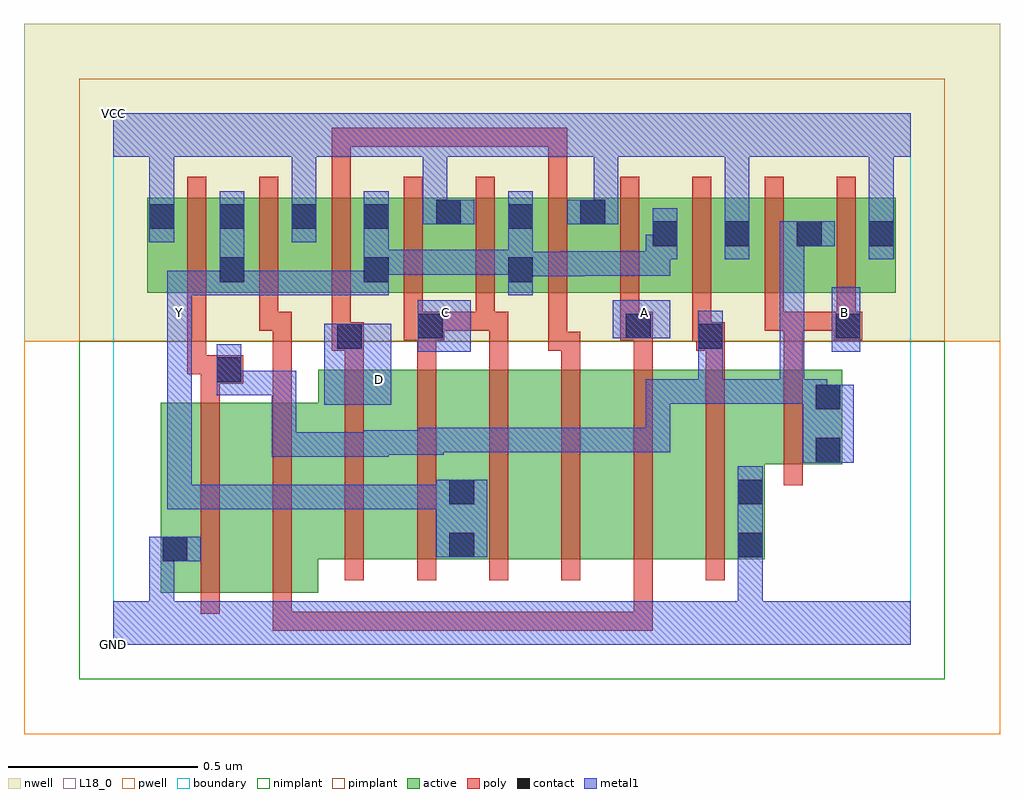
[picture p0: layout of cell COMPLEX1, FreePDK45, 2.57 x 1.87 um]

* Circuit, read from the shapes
.subckt COMPLEX1 A B C D GND VCC Y
M1 n1 n2 GND VSUBS nfet w=0.5u l=0.05u
M2 n3 A n1 VSUBS nfet w=0.5u l=0.05u
M3 n4 D n3 VSUBS nfet w=0.5u l=0.05u
M4 Y C n4 VSUBS nfet w=0.5u l=0.05u
M5 n5 C Y VSUBS nfet w=0.5u l=0.05u
M6 n6 D n5 VSUBS nfet w=0.5u l=0.05u
M7 n7 A n6 VSUBS nfet w=0.5u l=0.05u
M8 GND n2 n7 VSUBS nfet w=0.5u l=0.05u
M9 n2 B GND VSUBS nfet w=0.25u l=0.05u
M10 Y n2 VCC n8 pfet w=0.25u l=0.05u m=2
M11 VCC A Y n8 pfet w=0.25u l=0.05u m=2
M12 Y D VCC n8 pfet w=0.25u l=0.05u m=2
M13 VCC C Y n8 pfet w=0.25u l=0.05u m=2
M14 n2 B VCC n8 pfet w=0.25u l=0.05u m=2
.ends

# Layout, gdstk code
import gdstk
lib = gdstk.Library(unit=1e-6, precision=1e-09)
def R(c, l, rs):  # rectangles x0, y0, x1, y1
    for r in rs: c.add(gdstk.rectangle(r[:2], r[2:], *l))
def A(c, l, x, y, w, h, nx, ny, dx, dy):  # array of equal rectangles
    R(c, l, [(x+i*dx, y+j*dy, x+i*dx+w, y+j*dy+h) for i in range(nx) for j in range(ny)])
active = (1, 0)
pwell = (2, 0)
nwell = (3, 0)
nimplant = (4, 0)
pimplant = (5, 0)
poly = (9, 0)
contact = (10, 0)
metal1 = (11, 0)
L18_0 = (18, 0)
boundary = (235, 0)

complex1 = lib.new_cell('COMPLEX1')
A(complex1, active, 0.275, 0.927, 0.075, 0.25, 4, 1, 0.38, 0)
A(complex1, active, 0.275, 0.927, 0.265, 0.25, 9, 1, 0.19, 0)
A(complex1, active, 1.605, 0.927, 0.075, 0.25, 3, 1, 0.19, 0)
R(complex1, active, [(0.125,0.137,0.35,0.637), (0.35,0.137,0.54,0.637), (0.125,0.142,0.2,0.637), (0.54,0.225,0.73,0.725), (0.73,0.225,0.955,0.725), (0.88,0.225,1.11,0.725), (0.88,0.225,0.955,0.652), (1.11,0.225,1.3,0.725), (1.3,0.225,1.49,0.725), (1.49,0.225,1.715,0.725), (1.64,0.225,1.715,0.725), (1.64,0.475,1.92,0.725), (1.845,0.475,1.92,0.725), (0.09,0.927,0.165,1.177), (0.09,0.927,0.35,1.177), (0.845,0.932,0.92,1.177), (0.465,1.027,0.54,1.177), (1.225,1.027,1.3,1.177)])
R(complex1, pwell, [(-0.235,-0.235,2.335,0.8)])
R(complex1, nwell, [(-0.235,0.8,2.335,1.635)])
R(complex1, nimplant, [(-0.09,-0.09,2.19,0.8)])
R(complex1, pimplant, [(-0.09,0.8,2.19,1.49)])
A(complex1, poly, 0.61, 0.17, 0.05, 0.61, 6, 1, 0.19, 0)
A(complex1, poly, 0.955, 0.827, 0.05, 0.095, 3, 1, 0.38, 0)
A(complex1, poly, 0.195, 0.872, 0.05, 0.36, 10, 1, 0.19, 0)
R(complex1, poly, [(0.42,0.037,0.47,0.132), (0.42,0.037,0.475,0.087), (0.425,0.037,0.475,0.087), (0.425,0.037,0.475,0.087), (0.425,0.037,0.625,0.087), (0.575,0.037,0.625,0.087), (0.575,0.037,0.757,0.087), (0.707,0.037,0.757,0.087), (0.707,0.037,0.757,0.087), (0.707,0.037,0.757,0.087), (0.707,0.037,1.062,0.087), (1.012,0.037,1.062,0.087), (1.012,0.037,1.062,0.087), (1.012,0.037,1.062,0.087), (1.012,0.037,1.25,0.087), (1.2,0.037,1.25,0.087), (1.2,0.037,1.25,0.087), (1.2,0.037,1.25,0.087), (1.2,0.037,1.42,0.087), (1.37,0.037,1.42,0.087), (1.37,0.037,1.42,0.087), (1.37,0.037,1.42,0.087), (1.37,0.037,1.42,0.22), (0.23,0.082,0.28,0.692), (0.42,0.082,0.47,0.692), (1.765,0.42,1.815,0.78), (0.23,0.642,0.28,0.737), (0.42,0.642,0.47,0.877), (0.23,0.687,0.342,0.762), (0.195,0.712,0.28,0.762), (0.195,0.712,0.245,0.922), (0.23,0.712,0.28,0.762), (0.61,0.73,0.66,0.825), (0.8,0.73,0.85,0.852), (0.99,0.73,1.04,0.877), (1.18,0.73,1.23,0.825), (1.37,0.73,1.42,0.852), (1.56,0.73,1.61,0.825), (1.765,0.73,1.815,0.877), (0.575,0.775,0.66,0.85), (0.61,0.775,0.66,0.825), (0.61,0.775,0.66,0.825), (1.145,0.775,1.195,0.922), (1.145,0.775,1.23,0.825), (1.18,0.775,1.23,0.825), (1.18,0.775,1.23,0.825), (1.535,0.775,1.61,0.85), (0.575,0.8,0.625,0.922), (1.525,0.8,1.575,0.922), (1.525,0.8,1.585,0.85), (1.535,0.8,1.585,0.85), (0.765,0.802,0.872,0.877), (0.8,0.802,0.85,0.852), (0.8,0.802,0.85,0.852), (1.335,0.802,1.42,0.877), (1.37,0.802,1.42,0.852), (1.37,0.802,1.42,0.852), (1.897,0.802,1.972,0.877), (0.385,0.827,0.435,0.922), (0.385,0.827,0.47,0.877), (0.42,0.827,0.47,0.877), (0.42,0.827,0.47,0.877), (0.765,0.827,0.815,0.922), (0.822,0.827,1.005,0.877), (0.955,0.827,1.005,0.877), (0.955,0.827,1.005,0.877), (0.955,0.827,1.005,0.877), (0.955,0.827,1.005,0.877), (0.955,0.827,1.04,0.877), (1.715,0.827,1.815,0.877), (1.765,0.827,1.815,0.877), (1.765,0.827,1.815,0.877), (1.765,0.827,1.947,0.877), (1.897,0.827,1.947,0.877), (1.897,0.827,1.947,0.877), (1.905,0.827,1.955,0.922), (0.575,1.182,0.625,1.362), (1.145,1.182,1.195,1.362), (0.575,1.312,0.625,1.362), (0.575,1.312,0.625,1.362), (0.575,1.312,0.625,1.362), (0.575,1.312,0.872,1.362), (0.822,1.312,0.872,1.362), (0.822,1.312,1.005,1.362), (0.955,1.312,1.005,1.362), (0.955,1.312,1.005,1.362), (0.955,1.312,1.005,1.362), (0.955,1.312,1.195,1.362), (1.145,1.312,1.195,1.362), (1.145,1.312,1.195,1.362), (1.145,1.312,1.195,1.362)])
A(complex1, contact, 0.28, 0.955, 0.065, 0.065, 3, 1, 0.38, 0)
A(complex1, contact, 1.42, 1.05, 0.065, 0.065, 4, 1, 0.19, 0)
A(complex1, contact, 0.28, 1.095, 0.065, 0.065, 3, 1, 0.19, 0)
R(complex1, contact, [(0.13,0.22,0.195,0.285), (0.885,0.23,0.95,0.295), (1.645,0.23,1.71,0.295), (0.885,0.37,0.95,0.435), (1.645,0.37,1.71,0.435), (1.85,0.48,1.915,0.545), (1.85,0.62,1.915,0.685), (0.272,0.692,0.337,0.757), (0.59,0.78,0.655,0.845), (1.54,0.78,1.605,0.845), (0.802,0.807,0.867,0.872), (1.35,0.807,1.415,0.872), (1.902,0.807,1.967,0.872), (0.095,1.095,0.16,1.16), (1.04,1.095,1.105,1.16), (0.85,1.107,0.915,1.172), (1.23,1.107,1.295,1.172)])
A(complex1, metal1, 0.28, 0.92, 0.065, 0.275, 3, 1, 0.38, 0)
R(complex1, metal1, [(0,0,2.1,0.115), (0.095,0.05,0.16,0.285), (1.645,0.05,1.71,0.115), (1.645,0.05,1.71,0.115), (1.645,0.05,1.71,0.26), (1.645,0.195,1.71,0.47), (0.095,0.22,0.16,0.285), (0.095,0.22,0.16,0.285), (0.095,0.22,0.23,0.285), (0.85,0.23,0.985,0.435), (0.142,0.357,0.207,0.422), (0.142,0.357,0.345,0.422), (0.142,0.357,0.207,0.872), (0.28,0.357,0.345,0.422), (0.28,0.357,0.345,0.422), (0.28,0.357,0.345,0.422), (0.28,0.357,0.482,0.422), (0.417,0.357,0.482,0.422), (0.417,0.357,0.482,0.422), (0.417,0.357,0.482,0.422), (0.417,0.357,0.62,0.422), (0.555,0.357,0.62,0.422), (0.555,0.357,0.62,0.422), (0.555,0.357,0.62,0.422), (0.555,0.357,0.862,0.422), (0.797,0.357,0.862,0.422), (0.797,0.357,0.915,0.422), (1.815,0.48,1.95,0.685), (0.417,0.495,0.482,0.56), (0.417,0.495,0.482,0.56), (0.417,0.495,0.725,0.56), (0.417,0.495,0.482,0.722), (0.66,0.495,0.725,0.56), (0.66,0.495,0.725,0.56), (0.66,0.495,0.725,0.565), (0.66,0.5,0.87,0.565), (0.805,0.5,0.87,0.572), (0.805,0.507,0.87,0.572), (0.805,0.507,0.87,0.572), (0.805,0.507,1.007,0.572), (0.942,0.507,1.007,0.572), (0.942,0.507,1.105,0.572), (1.04,0.507,1.105,0.572), (1.04,0.507,1.242,0.572), (1.177,0.507,1.242,0.572), (1.177,0.507,1.242,0.572), (1.177,0.507,1.242,0.572), (1.177,0.507,1.467,0.572), (1.402,0.507,1.467,0.572), (1.402,0.507,1.467,0.572), (1.402,0.507,1.467,0.7), (1.815,0.62,1.88,0.7), (0.555,0.632,0.732,0.845), (1.402,0.635,1.605,0.7), (1.54,0.635,1.605,0.7), (1.54,0.635,1.605,0.7), (1.54,0.635,1.82,0.7), (1.54,0.635,1.605,0.88), (1.755,0.635,1.82,0.7), (1.755,0.635,1.82,0.7), (1.755,0.635,1.82,1.115), (1.755,0.635,1.88,0.7), (0.272,0.657,0.337,0.792), (0.272,0.657,0.345,0.722), (0.28,0.657,0.345,0.722), (0.28,0.657,0.482,0.722), (0.802,0.772,0.942,0.907), (1.892,0.772,1.967,0.942), (0.142,0.807,0.207,0.942), (1.315,0.807,1.467,0.907), (0.142,0.877,0.207,0.985), (0.142,0.92,0.207,0.985), (0.142,0.92,0.345,0.985), (0.28,0.92,0.345,0.985), (0.28,0.92,0.345,0.985), (0.28,0.92,0.345,0.985), (0.28,0.92,0.345,0.985), (0.28,0.92,0.482,0.985), (0.417,0.92,0.482,0.985), (0.417,0.92,0.482,0.985), (0.417,0.92,0.482,0.985), (0.417,0.92,0.725,0.985), (0.66,0.92,0.725,0.985), (0.66,0.92,0.725,0.985), (1.04,0.97,1.242,1.035), (1.177,0.97,1.242,1.035), (1.177,0.97,1.242,1.035), (1.177,0.97,1.242,1.037), (1.177,0.972,1.467,1.037), (1.402,0.972,1.467,1.08), (0.66,0.975,0.862,1.04), (0.797,0.975,0.862,1.04), (0.797,0.975,0.967,1.04), (0.902,0.975,0.967,1.04), (0.902,0.975,1.105,1.04), (1.04,0.975,1.105,1.04), (1.04,0.975,1.105,1.04), (1.402,1.015,1.485,1.08), (1.42,1.015,1.485,1.15), (1.61,1.015,1.675,1.15), (1.99,1.015,2.055,1.15), (1.755,1.05,1.82,1.115), (1.755,1.05,1.82,1.115), (1.755,1.05,1.9,1.115), (0.095,1.06,0.16,1.195), (0.47,1.06,0.535,1.195), (1.61,1.085,1.675,1.35), (1.99,1.085,2.055,1.15), (1.99,1.085,2.055,1.15), (1.99,1.085,2.055,1.35), (0.815,1.107,0.88,1.35), (0.815,1.107,0.95,1.172), (1.195,1.107,1.33,1.172), (1.265,1.107,1.33,1.35), (0.095,1.13,0.16,1.35), (0.47,1.13,0.535,1.195), (0.47,1.13,0.535,1.195), (0.47,1.13,0.535,1.35), (0,1.285,2.1,1.4), (0.095,1.285,0.16,1.35), (0.095,1.285,0.16,1.35), (0.815,1.285,0.88,1.35), (0.815,1.285,0.88,1.35), (1.265,1.285,1.33,1.35), (1.265,1.285,1.33,1.35), (1.61,1.285,1.675,1.35), (1.61,1.285,1.675,1.35)])
A(complex1, L18_0, 0.842, 0.842, 0.065, 0.065, 3, 1, 0.525, 0)
A(complex1, L18_0, 0.28, 0.92, 0.065, 0.275, 3, 1, 0.38, 0)
R(complex1, L18_0, [(0,0,2.1,0.115), (0.095,0.05,0.16,0.285), (1.645,0.05,1.71,0.115), (1.645,0.05,1.71,0.115), (1.645,0.05,1.71,0.26), (1.645,0.195,1.71,0.47), (0.095,0.22,0.16,0.285), (0.095,0.22,0.16,0.285), (0.095,0.22,0.23,0.285), (0.85,0.23,0.985,0.435), (0.142,0.357,0.207,0.422), (0.142,0.357,0.207,0.872), (0.142,0.357,0.345,0.422), (0.28,0.357,0.345,0.422), (0.28,0.357,0.345,0.422), (0.28,0.357,0.345,0.422), (0.28,0.357,0.482,0.422), (0.417,0.357,0.482,0.422), (0.417,0.357,0.482,0.422), (0.417,0.357,0.482,0.422), (0.417,0.357,0.62,0.422), (0.555,0.357,0.62,0.422), (0.555,0.357,0.62,0.422), (0.555,0.357,0.62,0.422), (0.555,0.357,0.862,0.422), (0.797,0.357,0.862,0.422), (0.797,0.357,0.915,0.422), (0.555,0.632,0.732,0.845), (0.667,0.667,0.732,0.732), (0.802,0.772,0.942,0.907), (1.892,0.772,1.967,0.942), (0.142,0.807,0.207,0.942), (1.315,0.807,1.467,0.907), (0.142,0.842,0.207,0.907), (0.142,0.877,0.207,0.985), (0.142,0.92,0.207,0.985), (0.142,0.92,0.345,0.985), (0.28,0.92,0.345,0.985), (0.28,0.92,0.345,0.985), (0.28,0.92,0.345,0.985), (0.28,0.92,0.345,0.985), (0.28,0.92,0.482,0.985), (0.417,0.92,0.482,0.985), (0.417,0.92,0.482,0.985), (0.417,0.92,0.482,0.985), (0.417,0.92,0.725,0.985), (0.66,0.92,0.725,0.985), (0.66,0.92,0.725,0.985), (1.04,0.97,1.242,1.035), (1.177,0.97,1.242,1.035), (1.177,0.97,1.242,1.035), (1.177,0.97,1.242,1.037), (1.177,0.972,1.467,1.037), (1.402,0.972,1.467,1.08), (0.66,0.975,0.862,1.04), (0.797,0.975,0.862,1.04), (0.797,0.975,0.967,1.04), (0.902,0.975,0.967,1.04), (0.902,0.975,1.105,1.04), (1.04,0.975,1.105,1.04), (1.04,0.975,1.105,1.04), (1.402,1.015,1.485,1.08), (1.42,1.015,1.485,1.15), (1.61,1.015,1.675,1.15), (1.99,1.015,2.055,1.15), (0.095,1.06,0.16,1.195), (0.47,1.06,0.535,1.195), (1.61,1.085,1.675,1.35), (1.99,1.085,2.055,1.15), (1.99,1.085,2.055,1.15), (1.99,1.085,2.055,1.35), (0.815,1.107,0.95,1.172), (0.815,1.107,0.88,1.35), (1.195,1.107,1.33,1.172), (1.265,1.107,1.33,1.35), (0.095,1.13,0.16,1.35), (0.47,1.13,0.535,1.195), (0.47,1.13,0.535,1.195), (0.47,1.13,0.535,1.35), (0,1.285,2.1,1.4), (0.095,1.285,0.16,1.35), (0.095,1.285,0.16,1.35), (0.815,1.285,0.88,1.35), (0.815,1.285,0.88,1.35), (1.265,1.285,1.33,1.35), (1.265,1.285,1.33,1.35), (1.61,1.285,1.675,1.35), (1.61,1.285,1.675,1.35)])
R(complex1, boundary, [(0,0,2.1,1.4)])
complex1.add(gdstk.Label('A', (1.4,0.875), layer=11, texttype=0))
complex1.add(gdstk.Label('B', (1.925,0.875), layer=11, texttype=0))
complex1.add(gdstk.Label('C', (0.875,0.875), layer=11, texttype=0))
complex1.add(gdstk.Label('D', (0.7,0.7), layer=11, texttype=0))
complex1.add(gdstk.Label('Y', (0.175,0.875), layer=11, texttype=0))
complex1.add(gdstk.Label('VCC', (0,1.4), layer=11, texttype=0))
complex1.add(gdstk.Label('GND', (0,0), layer=11, texttype=0))

lib.write_gds('COMPLEX1.gds')
